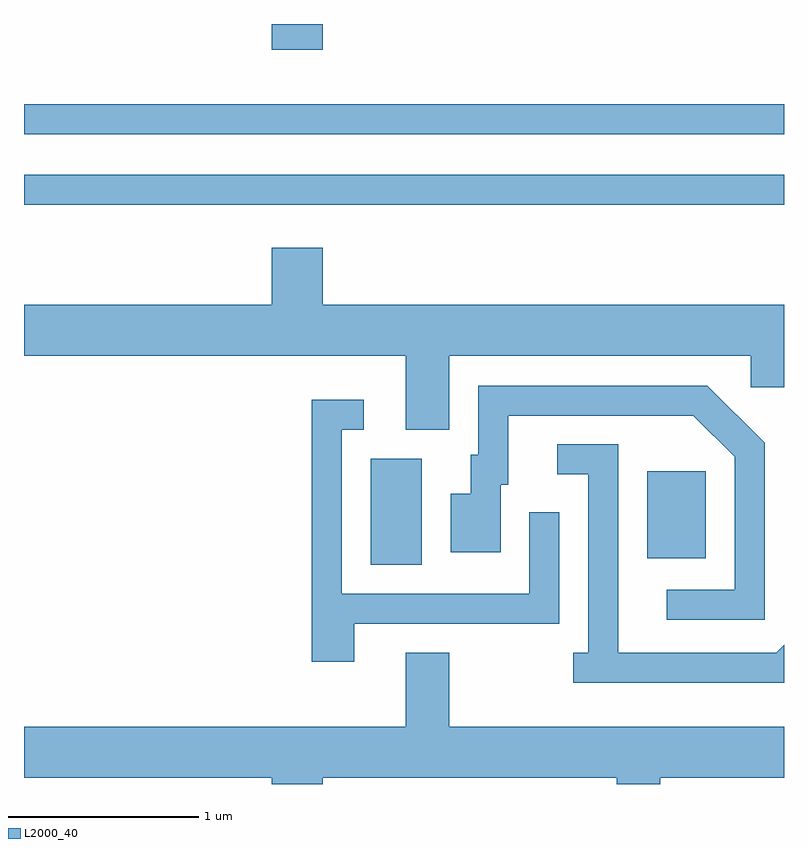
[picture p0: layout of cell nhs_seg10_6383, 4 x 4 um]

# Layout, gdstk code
import gdstk
lib = gdstk.Library(unit=1e-6, precision=1e-09)
def R(c, l, rs):  # rectangles x0, y0, x1, y1
    for r in rs: c.add(gdstk.rectangle(r[:2], r[2:], *l))
def P(c, l, *ps):  # polygons
    for p in ps: c.add(gdstk.Polygon(p, *l))
L2000_40 = (2000, 40)

nhs_seg10_6383 = lib.new_cell('nhs_seg10_6383')
R(nhs_seg10_6383, L2000_40, [(375.436,2141.676,375.704,2142.234), (376.891,2141.711,377.199,2142.169), (373.611,2143.571,377.611,2143.729), (373.611,2143.941,377.611,2144.099), (374.916,2144.386,375.184,2144.522)])
P(nhs_seg10_6383, L2000_40, [(375.184,2143.344),(374.916,2143.344),(374.916,2143.044),(373.611,2143.044),(373.611,2142.776),(375.621,2142.776),(375.621,2142.386),(375.849,2142.386),(375.849,2142.776),(377.436,2142.776),(377.436,2142.611),(377.611,2142.611),(377.611,2143.044),(375.184,2143.044)],
  [(377.509,2142.317),(377.207,2142.619),(376.001,2142.619),(376.001,2142.254),(375.961,2142.254),(375.961,2142.049),(375.856,2142.049),(375.856,2141.741),(376.119,2141.741),(376.119,2142.096),(376.159,2142.096),(376.159,2142.461),(377.134,2142.461),(377.351,2142.244),(377.351,2141.544),(376.993,2141.544),(376.993,2141.386),(377.509,2141.386)],
  [(375.349,2141.366),(376.429,2141.366),(376.429,2141.953),(376.271,2141.953),(376.271,2141.524),(375.284,2141.524),(375.284,2142.386),(375.398,2142.386),(375.398,2142.544),(375.126,2142.544),(375.126,2141.166),(375.349,2141.166)],
  [(377.611,2141.256),(377.569,2141.214),(376.739,2141.214),(376.739,2142.309),(376.418,2142.309),(376.418,2142.151),(376.581,2142.151),(376.581,2141.214),(376.503,2141.214),(376.503,2141.056),(377.611,2141.056)],
  [(375.184,2140.556),(376.731,2140.556),(376.731,2140.522),(376.959,2140.522),(376.959,2140.556),(377.611,2140.556),(377.611,2140.824),(375.849,2140.824),(375.849,2141.214),(375.621,2141.214),(375.621,2140.824),(373.611,2140.824),(373.611,2140.556),(374.916,2140.556),(374.916,2140.522),(375.184,2140.522)])

lib.write_gds('nhs_seg10_6383.gds')
